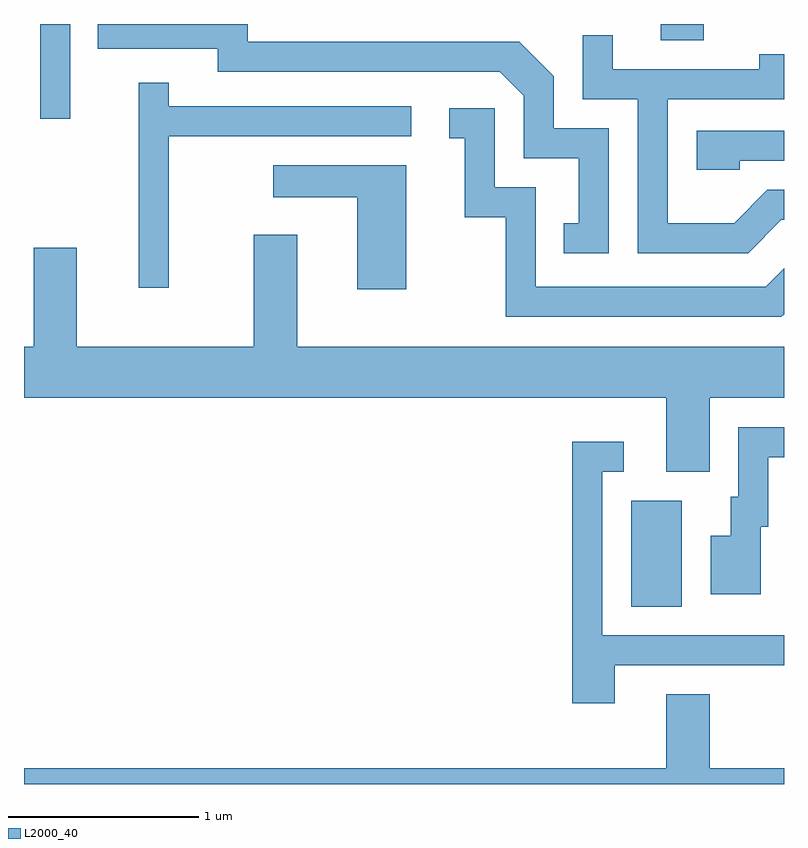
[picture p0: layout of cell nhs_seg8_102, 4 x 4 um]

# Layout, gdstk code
import gdstk
lib = gdstk.Library(unit=1e-6, precision=1e-09)
def R(c, l, rs):  # rectangles x0, y0, x1, y1
    for r in rs: c.add(gdstk.rectangle(r[:2], r[2:], *l))
def P(c, l, *ps):  # polygons
    for p in ps: c.add(gdstk.Polygon(p, *l))
L2000_40 = (2000, 40)

nhs_seg8_102 = lib.new_cell('nhs_seg8_102')
R(nhs_seg8_102, L2000_40, [(190.806,1875.276,191.074,1875.834), (187.696,1877.843,187.854,1878.342), (190.961,1878.256,191.189,1878.342)])
P(nhs_seg8_102, L2000_40, [(190.689,1877.794),(190.399,1877.794),(190.399,1878.067),(190.217,1878.249),(188.789,1878.249),(188.789,1878.342),(187.998,1878.342),(187.998,1878.211),(188.631,1878.211),(188.631,1878.091),(190.114,1878.091),(190.241,1877.964),(190.241,1877.636),(190.531,1877.636),(190.531,1877.294),(190.453,1877.294),(190.453,1877.136),(190.689,1877.136)],
  [(191.597,1877.311),(191.611,1877.311),(191.611,1877.469),(191.524,1877.469),(191.349,1877.294),(190.999,1877.294),(190.999,1877.946),(191.611,1877.946),(191.611,1878.183),(191.481,1878.183),(191.481,1878.104),(190.709,1878.104),(190.709,1878.283),(190.551,1878.283),(190.551,1877.946),(190.841,1877.946),(190.841,1877.136),(191.422,1877.136)],
  [(188.374,1877.751),(189.648,1877.751),(189.648,1877.909),(188.374,1877.909),(188.374,1878.033),(188.216,1878.033),(188.216,1876.953),(188.374,1876.953)],
  [(191.611,1876.815),(191.611,1877.056),(191.514,1876.959),(190.304,1876.959),(190.304,1877.484),(190.089,1877.484),(190.089,1877.899),(189.848,1877.899),(189.848,1877.741),(189.931,1877.741),(189.931,1877.326),(190.146,1877.326),(190.146,1876.801),(191.597,1876.801)],
  [(191.379,1877.621),(191.611,1877.621),(191.611,1877.779),(191.151,1877.779),(191.151,1877.576),(191.379,1877.576)],
  [(189.624,1877.599),(188.923,1877.599),(188.923,1877.431),(189.366,1877.431),(189.366,1876.946),(189.624,1876.946)],
  [(191.219,1876.376),(191.611,1876.376),(191.611,1876.644),(189.049,1876.644),(189.049,1877.234),(188.821,1877.234),(188.821,1876.644),(187.889,1876.644),(187.889,1877.164),(187.661,1877.164),(187.661,1876.644),(187.611,1876.644),(187.611,1876.376),(190.991,1876.376),(190.991,1875.986),(191.219,1875.986)],
  [(191.489,1875.696),(191.529,1875.696),(191.529,1876.061),(191.611,1876.061),(191.611,1876.219),(191.371,1876.219),(191.371,1875.854),(191.331,1875.854),(191.331,1875.649),(191.226,1875.649),(191.226,1875.341),(191.489,1875.341)],
  [(190.719,1874.966),(191.611,1874.966),(191.611,1875.124),(190.654,1875.124),(190.654,1875.986),(190.768,1875.986),(190.768,1876.144),(190.496,1876.144),(190.496,1874.766),(190.719,1874.766)],
  [(191.611,1874.424),(191.219,1874.424),(191.219,1874.814),(190.991,1874.814),(190.991,1874.424),(187.611,1874.424),(187.611,1874.342),(191.611,1874.342)])

lib.write_gds('nhs_seg8_102.gds')
